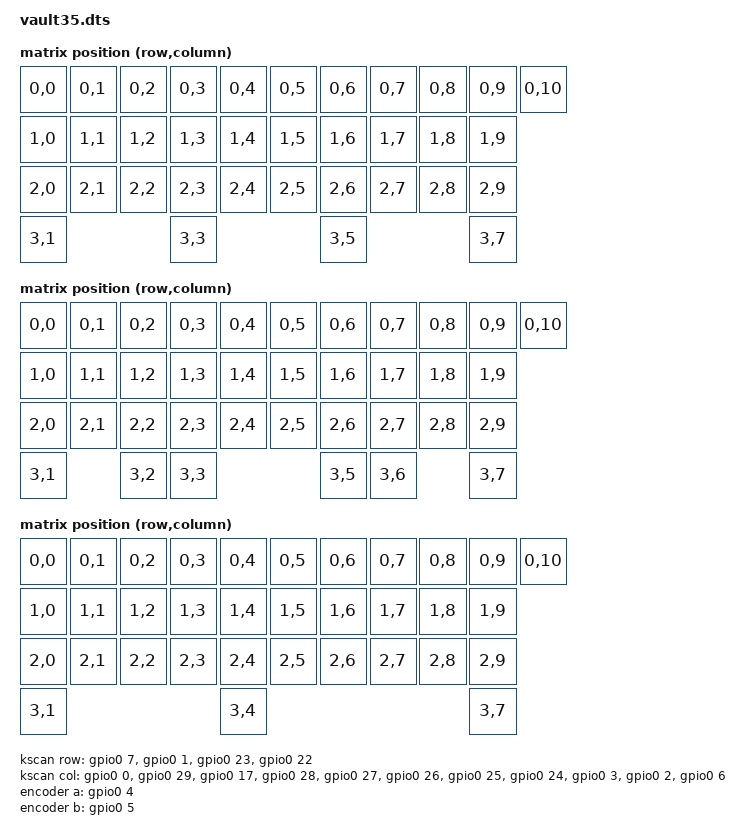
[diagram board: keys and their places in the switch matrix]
/*
 * Copyright (c) 2020 The ZMK Contributors
 *
 * SPDX-License-Identifier: MIT
 */

/dts-v1/;
#include <rpi_pico/rp2040.dtsi>
#include <freq.h>
#include "vault35-pinctl.dtsi"
#include <dt-bindings/zmk/matrix_transform.h>

/ {
    chosen {
        zephyr,sram = &sram0;
        zephyr,flash = &flash0;
        zephyr,console = &cdc_acm_uart;
        zephyr,code-partition = &code_partition;
        zmk,kscan = &kscan;
        zmk,matrix_transform = &transform_2_bars;
    };

    xtal_clk: xtal-clk {
		compatible = "fixed-clock";
		clock-frequency = <12000000>;
		#clock-cells = <0>;
	};

    // 2 x 3u or  2.25u-2.75u
    transform_2_bars: transform_2_bars {
        compatible = "zmk,matrix-transform";
        rows = <4>;
        columns = <11>;
        map = <
        RC(0,0) RC(0,1) RC(0,2) RC(0,3) RC(0,4) RC(0,5) RC(0,6) RC(0,7) RC(0,8) RC(0,9) RC(0,10)
        RC(1,0) RC(1,1) RC(1,2) RC(1,3) RC(1,4) RC(1,5) RC(1,6) RC(1,7) RC(1,8) RC(1,9)
        RC(2,0) RC(2,1) RC(2,2) RC(2,3) RC(2,4) RC(2,5) RC(2,6) RC(2,7) RC(2,8) RC(2,9)
        RC(3,1)                 RC(3,3)                 RC(3,5)                 RC(3,7) 
        >;
    };

    // All the 4 mini bars layouts
    transform_4_bars: transform_4_bars {
        compatible = "zmk,matrix-transform";
        rows = <4>;
        columns = <11>;
        map = <
        RC(0,0) RC(0,1) RC(0,2) RC(0,3) RC(0,4) RC(0,5) RC(0,6) RC(0,7) RC(0,8) RC(0,9) RC(0,10)
        RC(1,0) RC(1,1) RC(1,2) RC(1,3) RC(1,4) RC(1,5) RC(1,6) RC(1,7) RC(1,8) RC(1,9)
        RC(2,0) RC(2,1) RC(2,2) RC(2,3) RC(2,4) RC(2,5) RC(2,6) RC(2,7) RC(2,8) RC(2,9)
        RC(3,1)         RC(3,2) RC(3,3)                 RC(3,5) RC(3,6)         RC(3,7) 
        >;
    };

    // Big bar 
    transform_big_bar: transform_big_bar {
        compatible = "zmk,matrix-transform";
        rows = <4>;
        columns = <11>;
        map = <
        RC(0,0) RC(0,1) RC(0,2) RC(0,3) RC(0,4) RC(0,5) RC(0,6) RC(0,7) RC(0,8) RC(0,9) RC(0,10)
        RC(1,0) RC(1,1) RC(1,2) RC(1,3) RC(1,4) RC(1,5) RC(1,6) RC(1,7) RC(1,8) RC(1,9)
        RC(2,0) RC(2,1) RC(2,2) RC(2,3) RC(2,4) RC(2,5) RC(2,6) RC(2,7) RC(2,8) RC(2,9)
        RC(3,1)                         RC(3,4)                                 RC(3,7) 
        >;
    };

    // hhkb 3u center bar 
    transform_center_3u_bar: transform_center_3u_bar {
        compatible = "zmk,matrix-transform";
        rows = <4>;
        columns = <11>;
        map = <
        RC(0,0) RC(0,1) RC(0,2) RC(0,3) RC(0,4) RC(0,5) RC(0,6) RC(0,7) RC(0,8) RC(0,9) RC(0,10)
        RC(1,0) RC(1,1) RC(1,2) RC(1,3) RC(1,4) RC(1,5) RC(1,6) RC(1,7) RC(1,8) RC(1,9)
        RC(2,0) RC(2,1) RC(2,2) RC(2,3) RC(2,4) RC(2,5) RC(2,6) RC(2,7) RC(2,8) RC(2,9)
        RC(3,1)         RC(3,2)         RC(3,4)                 RC(3,6)         RC(3,7) 
        >;
    };

    kscan: kscan {
        compatible = "zmk,kscan-gpio-matrix";
        diode-direction = "col2row";

        col-gpios
        = <&gpio0 0  (GPIO_ACTIVE_HIGH)>
        , <&gpio0 29 (GPIO_ACTIVE_HIGH)>
        , <&gpio0 17 (GPIO_ACTIVE_HIGH)>
        , <&gpio0 28 (GPIO_ACTIVE_HIGH)>
        , <&gpio0 27 (GPIO_ACTIVE_HIGH)>
        , <&gpio0 26 (GPIO_ACTIVE_HIGH)>
        , <&gpio0 25 (GPIO_ACTIVE_HIGH)>
        , <&gpio0 24 (GPIO_ACTIVE_HIGH)>
        , <&gpio0 3  (GPIO_ACTIVE_HIGH)>
        , <&gpio0 2  (GPIO_ACTIVE_HIGH)>
        , <&gpio0 6  (GPIO_ACTIVE_HIGH)>
        ;
        row-gpios
        = <&gpio0 7  (GPIO_ACTIVE_HIGH | GPIO_PULL_DOWN)>
        , <&gpio0 1  (GPIO_ACTIVE_HIGH | GPIO_PULL_DOWN)>
        , <&gpio0 23 (GPIO_ACTIVE_HIGH | GPIO_PULL_DOWN)>
        , <&gpio0 22 (GPIO_ACTIVE_HIGH | GPIO_PULL_DOWN)>
        ;
    };

    encoder: encoder {
        compatible = "alps,ec11";
        a-gpios = <&gpio0 4 (GPIO_ACTIVE_HIGH | GPIO_PULL_UP)>;
        b-gpios = <&gpio0 5 (GPIO_ACTIVE_HIGH | GPIO_PULL_UP)>;
        steps = <80>;
        status = "disabled";
    };

    sensors: sensors {
        compatible = "zmk,keymap-sensors";
        sensors = <&encoder>;
        triggers-per-rotation = <20>;
    };
};

&flash0 {
	/* 16MB of flash minus the 0x100 used for
	 * the second stage bootloader
	 */
	reg = <0x10000000 DT_SIZE_M(16)>;

	partitions {
		compatible = "fixed-partitions";
		#address-cells = <1>;
		#size-cells = <1>;

		/* Reserved memory for the second stage bootloader */
		second_stage_bootloader: partition@0 {
			label = "second_stage_bootloader";
			reg = <0x00000000 0x100>;
			read-only;
		};

		/*
		 * Usable flash. Starts at 0x100, after the bootloader. The partition
		 * size is 16MB minus the 0x100 bytes taken by the bootloader.
		 */
		code_partition: partition@100 {
			label = "code-partition";
			reg = <0x100 (DT_SIZE_M(16) - 0x100)>;
			read-only;
		};
	};
};

&usbd {
    status = "okay";
    cdc_acm_uart: cdc_acm_uart {
        compatible = "zephyr,cdc-acm-uart";
    };
};

&gpio0 {
    status = "okay";
};

zephyr_udc0: &usbd {
	status = "okay";
};

&spi0 {
	status = "okay";
	pinctrl-0 = <&spi0_default>;
	pinctrl-names = "default";
	clock-frequency = <DT_FREQ_M(2)>;
};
